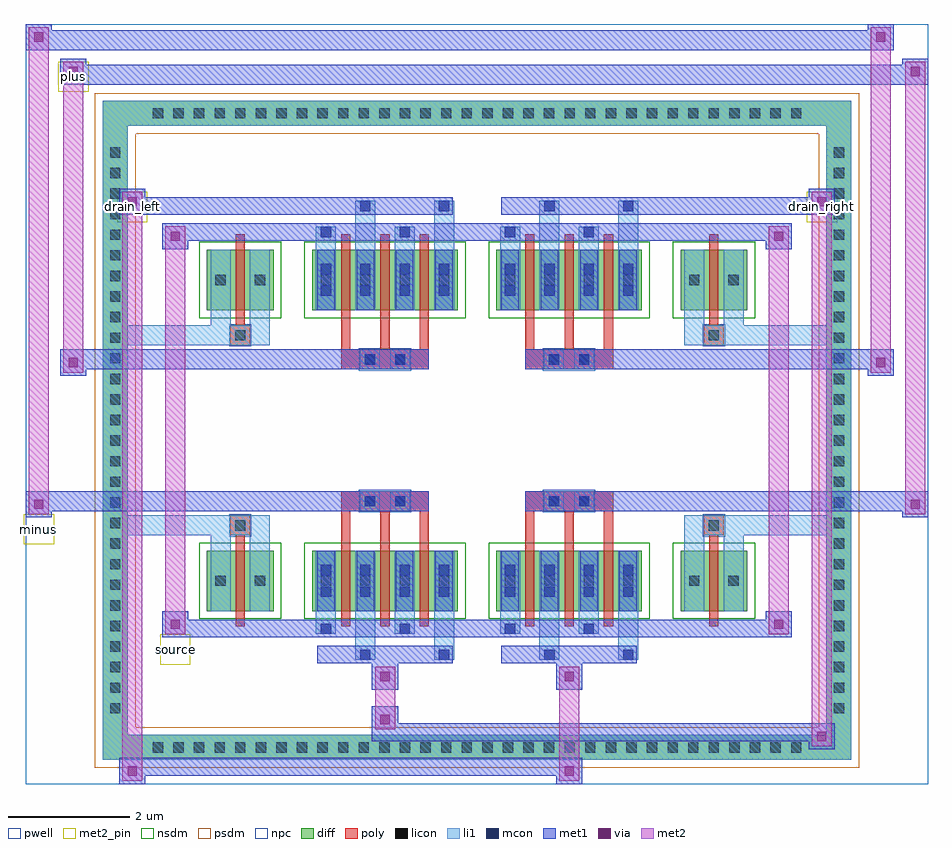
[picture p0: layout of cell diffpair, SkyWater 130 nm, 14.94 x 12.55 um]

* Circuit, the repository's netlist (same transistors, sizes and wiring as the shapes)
* NGSPICE file created from diffpair.ext - technology: sky130A

.subckt diffpair minus drain_right drain_left source plus
X0 drain_right minus source a_n1236_n1088# sky130_fd_pr__nfet_01v8 ad=0.25 pd=1.5 as=0.475 ps=2.95 w=1 l=0.15
X1 a_n1236_n1088# a_n1236_n1088# a_n1236_n1088# a_n1236_n1088# sky130_fd_pr__nfet_01v8 ad=0.475 pd=2.95 as=3.8 ps=23.6 w=1 l=0.15
X2 a_n1236_n1088# a_n1236_n1088# a_n1236_n1088# a_n1236_n1088# sky130_fd_pr__nfet_01v8 ad=0.475 pd=2.95 as=0 ps=0 w=1 l=0.15
X3 source plus drain_left a_n1236_n1088# sky130_fd_pr__nfet_01v8 ad=0.25 pd=1.5 as=0.25 ps=1.5 w=1 l=0.15
X4 a_n1236_n1088# a_n1236_n1088# a_n1236_n1088# a_n1236_n1088# sky130_fd_pr__nfet_01v8 ad=0.475 pd=2.95 as=0 ps=0 w=1 l=0.15
X5 source minus drain_right a_n1236_n1088# sky130_fd_pr__nfet_01v8 ad=0.25 pd=1.5 as=0.25 ps=1.5 w=1 l=0.15
X6 a_n1236_n1088# a_n1236_n1088# a_n1236_n1088# a_n1236_n1088# sky130_fd_pr__nfet_01v8 ad=0.475 pd=2.95 as=0 ps=0 w=1 l=0.15
X7 drain_left plus source a_n1236_n1088# sky130_fd_pr__nfet_01v8 ad=0.25 pd=1.5 as=0.475 ps=2.95 w=1 l=0.15
X8 source minus drain_right a_n1236_n1088# sky130_fd_pr__nfet_01v8 ad=0.25 pd=1.5 as=0.25 ps=1.5 w=1 l=0.15
X9 drain_right minus source a_n1236_n1088# sky130_fd_pr__nfet_01v8 ad=0.25 pd=1.5 as=0.475 ps=2.95 w=1 l=0.15
X10 drain_right minus source a_n1236_n1088# sky130_fd_pr__nfet_01v8 ad=0.475 pd=2.95 as=0.25 ps=1.5 w=1 l=0.15
X11 drain_left plus source a_n1236_n1088# sky130_fd_pr__nfet_01v8 ad=0.475 pd=2.95 as=0.25 ps=1.5 w=1 l=0.15
X12 drain_right minus source a_n1236_n1088# sky130_fd_pr__nfet_01v8 ad=0.475 pd=2.95 as=0.25 ps=1.5 w=1 l=0.15
X13 drain_left plus source a_n1236_n1088# sky130_fd_pr__nfet_01v8 ad=0.25 pd=1.5 as=0.475 ps=2.95 w=1 l=0.15
X14 source plus drain_left a_n1236_n1088# sky130_fd_pr__nfet_01v8 ad=0.25 pd=1.5 as=0.25 ps=1.5 w=1 l=0.15
X15 drain_left plus source a_n1236_n1088# sky130_fd_pr__nfet_01v8 ad=0.475 pd=2.95 as=0.25 ps=1.5 w=1 l=0.15
.ends

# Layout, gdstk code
import gdstk
lib = gdstk.Library(unit=1e-6, precision=5e-09)
def R(c, l, rs):  # rectangles x0, y0, x1, y1
    for r in rs: c.add(gdstk.rectangle(r[:2], r[2:], *l))
def A(c, l, x, y, w, h, nx, ny, dx, dy):  # array of equal rectangles
    R(c, l, [(x+i*dx, y+j*dy, x+i*dx+w, y+j*dy+h) for i in range(nx) for j in range(ny)])
def P(c, l, *ps):  # polygons
    for p in ps: c.add(gdstk.Polygon(p, *l))
pwell = (64, 44)
diff = (65, 20)
poly = (66, 20)
licon = (66, 44)
li1 = (67, 20)
mcon = (67, 44)
met1 = (68, 20)
via = (68, 44)
met2_pin = (69, 16)
met2 = (69, 20)
nsdm = (93, 44)
psdm = (94, 20)
npc = (95, 20)

diffpair = lib.new_cell('diffpair')
R(diffpair, pwell, [(-7.45,-5.84,7.45,6.71), (-4.77,-4.03,-0.01,-0.805), (0.01,-4.03,4.77,-0.805), (-4.77,0.805,-0.01,4.03), (0.01,0.805,4.77,4.03)])
A(diffpair, diff, -5.475, -5.44, 0.41, 0.41, 32, 2, 0.34, 10.47)
A(diffpair, diff, -6.18, -4.795, 0.41, 0.41, 1, 28, 0, 0.34)
A(diffpair, diff, 5.77, -4.795, 0.41, 0.41, 1, 28, 0, 0.34)
R(diffpair, diff, [(-5.475,-5.44,5.475,-5.03), (-6.18,-4.795,-5.77,4.795), (5.77,-4.795,6.18,4.795), (-4.46,-2.985,-3.36,-1.985), (-2.72,-2.985,-0.32,-1.985), (0.32,-2.985,2.72,-1.985), (3.36,-2.985,4.46,-1.985), (-4.46,1.985,-3.36,2.985), (-2.72,1.985,-0.32,2.985), (0.32,1.985,2.72,2.985), (3.36,1.985,4.46,2.985), (-5.475,5.03,5.475,5.44)])
P(diffpair, diff, [(6.18,5.44),(-6.18,5.44),(-6.18,-5.03),(-5.77,-5.03),(-5.77,5.03),(5.77,5.03),(5.77,-5.03),(-5.77,-5.03),(-6.18,-5.03),(-6.18,-5.44),(6.18,-5.44)])
A(diffpair, poly, -2.245, -3.235, 0.15, 1.5, 3, 2, 0.65, 4.97)
A(diffpair, poly, 0.795, -3.235, 0.15, 1.5, 3, 2, 0.65, 4.97)
A(diffpair, poly, -2.245, -1.735, 0.15, 0.4, 3, 2, 0.65, 3.07)
A(diffpair, poly, 0.795, -1.735, 0.15, 0.4, 3, 2, 0.65, 3.07)
R(diffpair, poly, [(-3.985,-3.235,-3.835,-1.735), (3.835,-3.235,3.985,-1.735), (-4.075,-1.735,-3.745,-1.405), (-4.075,-1.735,-3.745,-1.405), (3.745,-1.735,4.075,-1.405), (3.745,-1.735,4.075,-1.405), (-2.245,-1.335,-0.795,-1.005), (-1.935,-1.335,-1.605,-1.005), (-1.435,-1.335,-1.105,-1.005), (0.795,-1.335,2.245,-1.005), (1.105,-1.335,1.435,-1.005), (1.605,-1.335,1.935,-1.005), (-2.245,1.005,-0.795,1.335), (-1.935,1.005,-1.605,1.335), (-1.435,1.005,-1.105,1.335), (0.795,1.005,2.245,1.335), (1.105,1.005,1.435,1.335), (1.605,1.005,1.935,1.335), (-4.075,1.405,-3.745,1.735), (-4.075,1.405,-3.745,1.735), (3.745,1.405,4.075,1.735), (3.745,1.405,4.075,1.735), (-3.985,1.735,-3.835,3.235), (3.835,1.735,3.985,3.235)])
A(diffpair, licon, -5.355, -5.32, 0.17, 0.17, 32, 2, 0.34, 10.47)
A(diffpair, licon, -6.06, -4.675, 0.17, 0.17, 1, 28, 0, 0.34)
A(diffpair, licon, 5.89, -4.675, 0.17, 0.17, 1, 28, 0, 0.34)
A(diffpair, licon, -2.58, -2.57, 0.17, 0.17, 4, 2, 0.65, 4.97)
A(diffpair, licon, 0.46, -2.57, 0.17, 0.17, 4, 2, 0.65, 4.97)
R(diffpair, licon, [(-4.32,-2.57,-4.15,-2.4), (-3.67,-2.57,-3.5,-2.4), (3.5,-2.57,3.67,-2.4), (4.15,-2.57,4.32,-2.4), (-3.995,-1.655,-3.825,-1.485), (3.825,-1.655,3.995,-1.485), (-1.855,-1.255,-1.685,-1.085), (-1.355,-1.255,-1.185,-1.085), (1.185,-1.255,1.355,-1.085), (1.685,-1.255,1.855,-1.085), (-1.855,1.085,-1.685,1.255), (-1.355,1.085,-1.185,1.255), (1.185,1.085,1.355,1.255), (1.685,1.085,1.855,1.255), (-3.995,1.485,-3.825,1.655), (3.825,1.485,3.995,1.655), (-4.32,2.4,-4.15,2.57), (-3.67,2.4,-3.5,2.57), (3.5,2.4,3.67,2.57), (4.15,2.4,4.32,2.57)])
A(diffpair, li1, -5.435, -5.4, 0.33, 0.33, 32, 2, 0.34, 10.47)
A(diffpair, li1, -6.14, -4.755, 0.33, 0.33, 1, 28, 0, 0.34)
A(diffpair, li1, 5.81, -4.755, 0.33, 0.33, 1, 28, 0, 0.34)
A(diffpair, li1, -2.66, -2.985, 0.33, 1, 4, 2, 0.65, 4.97)
A(diffpair, li1, 0.38, -2.985, 0.33, 1, 4, 2, 0.65, 4.97)
A(diffpair, li1, -2.58, -2.75, 0.17, 0.17, 4, 2, 0.65, 0.36)
A(diffpair, li1, -2.58, -2.75, 0.17, 0.53, 4, 2, 0.65, 4.97)
A(diffpair, li1, 0.46, -2.75, 0.17, 0.17, 4, 2, 0.65, 0.36)
A(diffpair, li1, 0.46, -2.75, 0.17, 0.53, 4, 2, 0.65, 4.97)
A(diffpair, li1, -2.66, -2.65, 0.33, 0.33, 4, 2, 0.65, 4.97)
A(diffpair, li1, 0.38, -2.65, 0.33, 0.33, 4, 2, 0.65, 4.97)
A(diffpair, li1, -2.58, 2.22, 0.17, 0.17, 4, 2, 0.65, 0.36)
A(diffpair, li1, 0.46, 2.22, 0.17, 0.17, 4, 2, 0.65, 0.36)
R(diffpair, li1, [(-6.18,-5.44,-5.77,-5.03), (-6.18,-5.44,-5.77,-5.03), (-5.77,-5.44,5.77,-5.03), (5.77,-5.44,6.18,-5.03), (5.77,-5.44,6.18,-5.03), (-6.18,-5.03,-5.77,5.03), (5.77,-5.03,6.18,5.03), (-2.01,-3.79,-1.68,-2.985), (-1.93,-3.79,-1.76,-3.62), (-0.71,-3.79,-0.38,-2.985), (-0.63,-3.79,-0.46,-3.62), (1.03,-3.79,1.36,-2.985), (1.11,-3.79,1.28,-3.62), (2.33,-3.79,2.66,-2.985), (2.41,-3.79,2.58,-3.62), (-2.66,-3.36,-2.33,-2.985), (-2.58,-3.36,-2.41,-3.19), (-1.36,-3.36,-1.03,-2.985), (-1.28,-3.36,-1.11,-3.19), (0.38,-3.36,0.71,-2.985), (0.46,-3.36,0.63,-3.19), (1.68,-3.36,2.01,-2.985), (1.76,-3.36,1.93,-3.19), (-4.4,-2.985,-4.07,-1.985), (-3.75,-2.985,-3.42,-1.985), (3.42,-2.985,3.75,-1.985), (4.07,-2.985,4.4,-1.985), (-4.4,-2.65,-4.07,-2.32), (-3.75,-2.65,-3.42,-2.32), (3.42,-2.65,3.75,-2.32), (4.07,-2.65,4.4,-2.32), (-4.4,-1.985,-4.07,-1.405), (-3.75,-1.985,-3.42,-1.405), (3.42,-1.985,3.75,-1.405), (4.07,-1.985,4.4,-1.405), (-6.18,-1.735,-4.075,-1.405), (-4.4,-1.735,-4.075,-1.405), (-4.075,-1.735,-3.745,-1.405), (-3.745,-1.735,-3.42,-1.405), (3.42,-1.735,3.745,-1.405), (3.745,-1.735,4.075,-1.405), (3.745,-1.735,6.18,-1.405), (4.075,-1.735,4.4,-1.405), (-1.935,-1.335,-1.605,-1.005), (-1.435,-1.335,-1.105,-1.005), (1.105,-1.335,1.435,-1.005), (1.605,-1.335,1.935,-1.005), (-1.935,1.005,-1.605,1.335), (-1.435,1.005,-1.105,1.335), (1.105,1.005,1.435,1.335), (1.605,1.005,1.935,1.335), (-6.18,1.405,-4.075,1.735), (-4.4,1.405,-4.075,1.735), (-4.4,1.405,-4.07,1.985), (-4.075,1.405,-3.745,1.735), (-3.75,1.405,-3.42,1.985), (-3.745,1.405,-3.42,1.735), (3.42,1.405,3.745,1.735), (3.42,1.405,3.75,1.985), (3.745,1.405,4.075,1.735), (3.745,1.405,6.18,1.735), (4.07,1.405,4.4,1.985), (4.075,1.405,4.4,1.735), (-4.4,1.985,-4.07,2.985), (-3.75,1.985,-3.42,2.985), (3.42,1.985,3.75,2.985), (4.07,1.985,4.4,2.985), (-4.4,2.32,-4.07,2.65), (-3.75,2.32,-3.42,2.65), (3.42,2.32,3.75,2.65), (4.07,2.32,4.4,2.65), (-2.66,2.985,-2.33,3.36), (-2.01,2.985,-1.68,3.79), (-1.36,2.985,-1.03,3.36), (-0.71,2.985,-0.38,3.79), (0.38,2.985,0.71,3.36), (1.03,2.985,1.36,3.79), (1.68,2.985,2.01,3.36), (2.33,2.985,2.66,3.79), (-2.58,3.19,-2.41,3.36), (-1.28,3.19,-1.11,3.36), (0.46,3.19,0.63,3.36), (1.76,3.19,1.93,3.36), (-1.93,3.62,-1.76,3.79), (-0.63,3.62,-0.46,3.79), (1.11,3.62,1.28,3.79), (2.41,3.62,2.58,3.79), (-6.18,5.03,-5.77,5.44), (-6.18,5.03,-5.77,5.44), (-5.77,5.03,5.77,5.44), (5.77,5.03,6.18,5.44), (5.77,5.03,6.18,5.44)])
A(diffpair, mcon, -2.58, -2.75, 0.17, 0.17, 4, 2, 0.65, 0.36)
A(diffpair, mcon, 0.46, -2.75, 0.17, 0.17, 4, 2, 0.65, 0.36)
A(diffpair, mcon, -2.58, 2.22, 0.17, 0.17, 4, 2, 0.65, 0.36)
A(diffpair, mcon, 0.46, 2.22, 0.17, 0.17, 4, 2, 0.65, 0.36)
R(diffpair, mcon, [(-1.93,-3.79,-1.76,-3.62), (-0.63,-3.79,-0.46,-3.62), (1.11,-3.79,1.28,-3.62), (2.41,-3.79,2.58,-3.62), (-2.58,-3.36,-2.41,-3.19), (-1.28,-3.36,-1.11,-3.19), (0.46,-3.36,0.63,-3.19), (1.76,-3.36,1.93,-3.19), (-1.855,-1.255,-1.685,-1.085), (-1.355,-1.255,-1.185,-1.085), (1.185,-1.255,1.355,-1.085), (1.685,-1.255,1.855,-1.085), (-1.855,1.085,-1.685,1.255), (-1.355,1.085,-1.185,1.255), (1.185,1.085,1.355,1.255), (1.685,1.085,1.855,1.255), (-2.58,3.19,-2.41,3.36), (-1.28,3.19,-1.11,3.36), (0.46,3.19,0.63,3.36), (1.76,3.19,1.93,3.36), (-1.93,3.62,-1.76,3.79), (-0.63,3.62,-0.46,3.79), (1.11,3.62,1.28,3.79), (2.41,3.62,2.58,3.79)])
A(diffpair, met1, -2.64, -2.985, 0.29, 1, 4, 2, 0.65, 4.97)
A(diffpair, met1, 0.4, -2.985, 0.29, 1, 4, 2, 0.65, 4.97)
A(diffpair, met1, -2.64, -2.81, 0.29, 0.29, 4, 2, 0.65, 0.36)
A(diffpair, met1, 0.4, -2.81, 0.29, 0.29, 4, 2, 0.65, 0.36)
A(diffpair, met1, -2.64, 2.16, 0.29, 0.29, 4, 2, 0.65, 0.36)
A(diffpair, met1, 0.4, 2.16, 0.29, 0.29, 4, 2, 0.65, 0.36)
R(diffpair, met1, [(-5.91,-5.84,-5.48,-5.41), (1.305,-5.84,1.735,-5.41), (-5.91,-5.7,1.735,-5.41), (5.48,-5.27,5.91,-4.84), (-1.735,-5.13,5.91,-4.84), (-1.735,-4.99,-1.305,-4.56), (-1.735,-4.28,-1.305,-3.85), (1.305,-4.28,1.735,-3.85), (-2.64,-3.85,-0.4,-3.56), (-1.99,-3.85,-1.7,-3.56), (-0.69,-3.85,-0.4,-3.56), (0.4,-3.85,2.64,-3.56), (1.05,-3.85,1.34,-3.56), (2.35,-3.85,2.64,-3.56), (-5.2,-3.42,-4.77,-2.99), (-5.2,-3.42,-2.64,-3.13), (-2.64,-3.42,-2.35,-3.13), (-2.64,-3.42,-0.4,-3.13), (-1.34,-3.42,-1.05,-3.13), (-0.4,-3.42,0.4,-3.13), (0.4,-3.42,0.69,-3.13), (0.4,-3.42,2.64,-3.13), (1.7,-3.42,1.99,-3.13), (2.64,-3.42,5.2,-3.13), (4.77,-3.42,5.2,-2.99), (-7.45,-1.435,-7.02,-1.005), (7.02,-1.435,7.45,-1.005), (-7.45,-1.335,-0.795,-1.005), (-2.245,-1.335,-0.795,-1.005), (0.795,-1.335,2.245,-1.005), (0.795,-1.335,7.45,-1.005), (-1.915,-1.315,-1.625,-1.025), (-1.415,-1.315,-1.125,-1.025), (1.125,-1.315,1.415,-1.025), (1.625,-1.315,1.915,-1.025), (-6.88,0.905,-6.45,1.335), (6.45,0.905,6.88,1.335), (-6.88,1.005,-2.245,1.335), (-2.245,1.005,-0.795,1.335), (0.795,1.005,2.245,1.335), (2.245,1.005,6.88,1.335), (-1.915,1.025,-1.625,1.315), (-1.415,1.025,-1.125,1.315), (1.125,1.025,1.415,1.315), (1.625,1.025,1.915,1.315), (-5.2,2.99,-4.77,3.42), (4.77,2.99,5.2,3.42), (-5.2,3.13,-2.64,3.42), (-2.64,3.13,-2.35,3.42), (-2.64,3.13,-0.4,3.42), (-1.34,3.13,-1.05,3.42), (-0.4,3.13,0.4,3.42), (0.4,3.13,0.69,3.42), (0.4,3.13,2.64,3.42), (1.7,3.13,1.99,3.42), (2.64,3.13,5.2,3.42), (-5.91,3.56,-5.48,3.99), (-5.91,3.56,-2.64,3.85), (-2.64,3.56,-0.4,3.85), (-1.99,3.56,-1.7,3.85), (-0.69,3.56,-0.4,3.85), (0.4,3.56,2.64,3.85), (1.05,3.56,1.34,3.85), (2.35,3.56,2.64,3.85), (2.64,3.56,5.91,3.85), (5.48,3.56,5.91,3.99), (-6.88,5.71,-6.45,6.14), (-6.88,5.71,-4.77,6.04), (-4.77,5.71,4.77,6.04), (4.77,5.71,7.45,6.04), (7.02,5.71,7.45,6.14), (-7.45,6.28,-7.02,6.71), (-7.45,6.28,-4.77,6.61), (-4.77,6.28,4.77,6.61), (4.77,6.28,6.88,6.61), (6.45,6.28,6.88,6.71)])
R(diffpair, via, [(-5.77,-5.7,-5.62,-5.55), (1.445,-5.7,1.595,-5.55), (5.62,-5.13,5.77,-4.98), (-1.595,-4.85,-1.445,-4.7), (-1.595,-4.14,-1.445,-3.99), (1.445,-4.14,1.595,-3.99), (-5.06,-3.28,-4.91,-3.13), (4.91,-3.28,5.06,-3.13), (-7.31,-1.295,-7.16,-1.145), (7.16,-1.295,7.31,-1.145), (-6.74,1.045,-6.59,1.195), (6.59,1.045,6.74,1.195), (-5.06,3.13,-4.91,3.28), (4.91,3.13,5.06,3.28), (-5.77,3.7,-5.62,3.85), (5.62,3.7,5.77,3.85), (-6.74,5.85,-6.59,6), (7.16,5.85,7.31,6), (-7.31,6.42,-7.16,6.57), (6.59,6.42,6.74,6.57)])
R(diffpair, met2_pin, [(-5.235,-3.87,-4.735,-3.37), (-7.485,-1.885,-6.985,-1.385), (-5.945,3.44,-5.445,3.94), (5.445,3.44,5.945,3.94), (-6.915,5.59,-6.415,6.09)])
R(diffpair, met2, [(-5.86,-5.79,-5.53,-5.46), (-5.86,-5.79,-5.53,3.94), (1.355,-5.79,1.685,-5.46), (1.355,-5.46,1.685,-4.23), (5.53,-5.22,5.86,-4.89), (5.53,-5.22,5.86,3.94), (-1.685,-4.94,-1.355,-4.61), (-1.685,-4.61,-1.355,-4.23), (-1.685,-4.23,-1.355,-3.9), (1.355,-4.23,1.685,-3.9), (-5.15,-3.37,-4.82,-3.04), (-5.15,-3.37,-4.82,3.37), (4.82,-3.37,5.15,-3.04), (4.82,-3.37,5.15,3.37), (-7.4,-1.385,-7.07,-1.055), (-7.4,-1.385,-7.07,6.66), (7.07,-1.385,7.4,-1.055), (7.07,-1.385,7.4,6.09), (-6.83,0.955,-6.5,1.285), (-6.83,0.955,-6.5,6.09), (6.5,0.955,6.83,1.285), (6.5,0.955,6.83,6.66), (-5.15,3.04,-4.82,3.37), (4.82,3.04,5.15,3.37), (-5.86,3.61,-5.53,3.94), (5.53,3.61,5.86,3.94), (-6.83,5.76,-6.5,6.09), (7.07,5.76,7.4,6.09), (-7.4,6.33,-7.07,6.66), (6.5,6.33,6.83,6.66)])
P(diffpair, met2, [(7.4,-1.385),(7.4,-1.385),(7.4,-1.055),(7.4,-1.055)],
  [(7.4,5.76),(7.4,5.76),(7.4,6.09),(7.4,6.09)],
  [(-7.07,-1.385),(-7.07,-1.385),(-7.07,-1.055),(-7.07,-1.055)],
  [(-7.07,6.33),(-7.07,6.33),(-7.07,6.66),(-7.07,6.66)],
  [(6.83,0.955),(6.83,0.955),(6.83,1.285),(6.83,1.285)],
  [(6.83,6.33),(6.83,6.33),(6.83,6.66),(6.83,6.66)],
  [(-6.5,0.955),(-6.5,0.955),(-6.5,1.285),(-6.5,1.285)],
  [(-6.5,5.76),(-6.5,5.76),(-6.5,6.09),(-6.5,6.09)],
  [(-5.53,-5.79),(-5.53,-5.79),(-5.53,-5.46),(-5.53,-5.46)],
  [(-5.53,3.61),(-5.53,3.61),(-5.53,3.94),(-5.53,3.94)],
  [(5.86,-5.22),(5.86,-5.22),(5.86,-4.89),(5.86,-4.89)],
  [(5.86,3.61),(5.86,3.61),(5.86,3.94),(5.86,3.94)],
  [(-4.82,-3.37),(-4.82,-3.37),(-4.82,-3.04),(-4.82,-3.04)],
  [(-4.82,3.04),(-4.82,3.04),(-4.82,3.37),(-4.82,3.37)],
  [(5.15,-3.37),(5.15,-3.37),(5.15,-3.04),(5.15,-3.04)],
  [(5.15,3.04),(5.15,3.04),(5.15,3.37),(5.15,3.37)])
R(diffpair, nsdm, [(-4.59,-3.115,-3.23,-1.855), (-2.85,-3.115,-0.19,-1.855), (0.19,-3.115,2.85,-1.855), (3.23,-3.115,4.59,-1.855), (-4.59,1.855,-3.23,3.115), (-2.85,1.855,-0.19,3.115), (0.19,1.855,2.85,3.115), (3.23,1.855,4.59,3.115)])
P(diffpair, psdm, [(6.31,5.57),(-6.31,5.57),(-6.31,-4.9),(-5.64,-4.9),(-5.64,4.9),(5.64,4.9),(5.64,-4.9),(-5.64,-4.9),(-6.31,-4.9),(-6.31,-5.57),(6.31,-5.57)])
R(diffpair, npc, [(-4.095,-1.755,-3.725,-1.385), (3.725,-1.755,4.095,-1.385), (-1.955,-1.355,-1.585,-0.985), (-1.955,-1.355,-1.085,-0.985), (-1.955,-1.355,-1.085,-0.985), (-1.455,-1.355,-1.085,-0.985), (1.085,-1.355,1.455,-0.985), (1.085,-1.355,1.955,-0.985), (1.085,-1.355,1.955,-0.985), (1.585,-1.355,1.955,-0.985), (-1.955,0.985,-1.585,1.355), (-1.955,0.985,-1.085,1.355), (-1.955,0.985,-1.085,1.355), (-1.455,0.985,-1.085,1.355), (1.085,0.985,1.455,1.355), (1.085,0.985,1.955,1.355), (1.085,0.985,1.955,1.355), (1.585,0.985,1.955,1.355), (-4.095,1.385,-3.725,1.755), (3.725,1.385,4.095,1.755)])
diffpair.add(gdstk.Label('minus', (-7.235,-1.635), layer=69, texttype=5))
diffpair.add(gdstk.Label('drain_right', (5.695,3.69), layer=69, texttype=5))
diffpair.add(gdstk.Label('drain_left', (-5.695,3.69), layer=69, texttype=5))
diffpair.add(gdstk.Label('source', (-4.985,-3.62), layer=69, texttype=5))
diffpair.add(gdstk.Label('plus', (-6.665,5.84), layer=69, texttype=5))

lib.write_gds('diffpair.gds')
